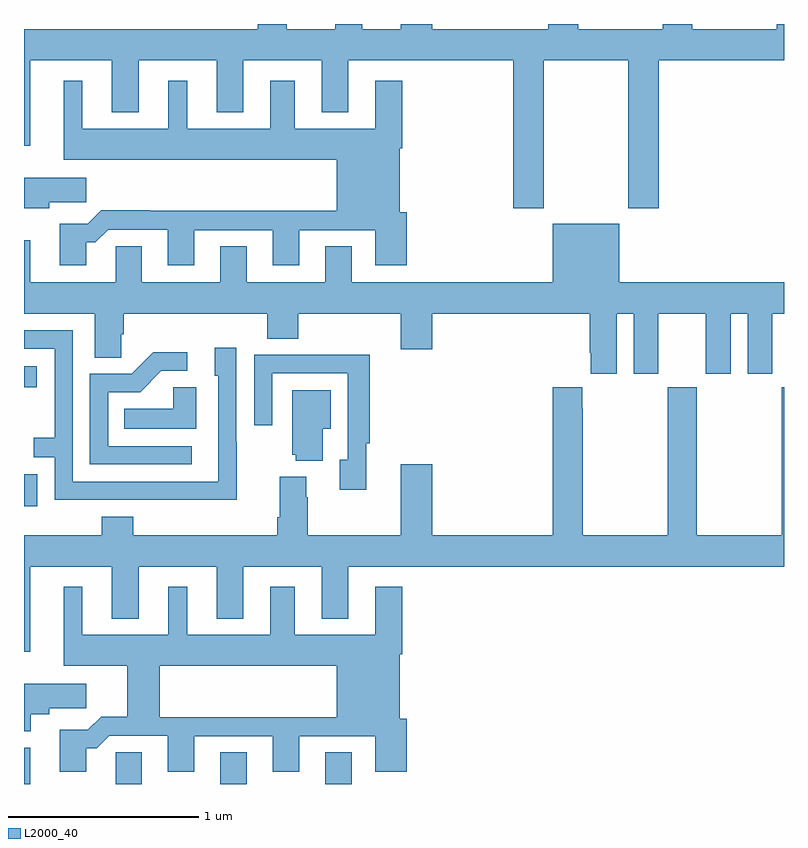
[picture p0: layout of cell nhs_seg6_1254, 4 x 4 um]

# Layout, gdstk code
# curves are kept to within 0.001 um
import gdstk
lib = gdstk.Library(unit=1e-6, precision=1e-09)
def R(c, l, rs):  # rectangles x0, y0, x1, y1
    for r in rs: c.add(gdstk.rectangle(r[:2], r[2:], *l))
def P(c, l, *ps):  # polygons
    for p in ps: c.add(gdstk.Polygon(p, *l))
L2000_40 = (2000, 40)

nhs_seg6_1254 = lib.new_cell('nhs_seg6_1254')
R(nhs_seg6_1254, L2000_40, [(187,971.5,187.033,971.692), (187.482,971.5,187.621,971.666), (188.033,971.5,188.173,971.666), (188.585,971.5,188.725,971.666), (187,972.963,187.071,973.131), (187,973.589,187.066,973.699)])
P(nhs_seg6_1254, L2000_40, [(189.735,975.308),(190.18,975.308),(190.18,974.529),(190.34,974.529),(190.34,975.308),(191,975.308),(191,975.5),(190.963,975.5),(190.963,975.472),(190.518,975.472),(190.518,975.5),(190.363,975.5),(190.363,975.472),(189.918,975.472),(189.918,975.5),(189.758,975.5),(189.758,975.472),(189.148,975.472),(189.148,975.5),(188.984,975.5),(188.984,975.472),(188.779,975.472),(188.779,975.5),(188.639,975.5),(188.639,975.472),(188.383,975.472),(188.383,975.5),(188.231,975.5),(188.231,975.472),(187,975.472),(187,974.859),(187.033,974.859),(187.033,975.308),(187.463,975.308),(187.463,975.035),(187.603,975.035),(187.603,975.308),(188.015,975.308),(188.015,975.035),(188.155,975.035),(188.155,975.308),(188.567,975.308),(188.567,975.035),(188.707,975.035),(188.707,975.308),(189.575,975.308),(189.575,974.529),(189.735,974.529)],
  [(187.327,974.351),(187.376,974.351),(187.443,974.418),(187.757,974.418),(187.757,974.229),(187.897,974.229),(187.897,974.415),(188.309,974.415),(188.309,974.229),(188.449,974.229),(188.449,974.415),(188.849,974.415),(188.849,974.229),(189.014,974.229),(189.014,974.508),(188.977,974.508),(188.977,974.846),(188.99,974.846),(188.99,975.202),(188.849,975.202),(188.849,974.95),(188.425,974.95),(188.425,975.202),(188.297,975.202),(188.297,974.95),(187.858,974.95),(187.858,975.202),(187.76,975.202),(187.76,974.95),(187.306,974.95),(187.306,975.202),(187.208,975.202),(187.208,974.786),(188.645,974.786),(188.645,974.516),(187.661,974.516),(187.661,974.519),(187.406,974.519),(187.336,974.449),(187.187,974.449),(187.187,974.229),(187.327,974.229)],
  [(187.132,974.563),(187.327,974.563),(187.327,974.692),(187,974.692),(187,974.531),(187.132,974.531)],
  [(187.482,974.33),(187.482,974.14),(187.033,974.14),(187.033,974.362),(187,974.362),(187,973.976),(187.373,973.976),(187.373,973.744),(187.512,973.744),(187.512,973.867),(187.526,973.867),(187.526,973.976),(188.279,973.976),(188.279,973.843),(188.444,973.843),(188.444,973.976),(188.984,973.976),(188.984,973.788),(189.148,973.788),(189.148,973.976),(189.977,973.976),(189.977,973.771),(189.983,973.771),(189.983,973.659),(190.12,973.659),(190.12,973.976),(190.208,973.976),(190.208,973.659),(190.339,973.659),(190.339,973.976),(190.589,973.976),(190.589,973.659),(190.72,973.659),(190.72,973.976),(190.808,973.976),(190.808,973.659),(190.939,973.659),(190.939,973.976),(191,973.976),(191,974.14),(190.132,974.14),(190.132,974.449),(189.782,974.449),(189.782,974.14),(188.725,974.14),(188.725,974.33),(188.585,974.33),(188.585,974.14),(188.173,974.14),(188.173,974.33),(188.033,974.33),(188.033,974.14),(187.621,974.14),(187.621,974.33)],
  [(188.121,973.301),(188.118,973.301),(188.118,973.795),(188.003,973.795),(188.003,973.65),(188.022,973.65),(188.022,973.092),(187.257,973.092),(187.257,973.887),(187,973.887),(187,973.791),(187.161,973.791),(187.161,973.322),(187.051,973.322),(187.051,973.221),(187.161,973.221),(187.161,972.996),(187.657,972.996),(187.657,972.995),(188.121,972.995)],
  [(187.882,973.278),(187.443,973.278),(187.443,973.563),(187.612,973.563),(187.723,973.674),(187.858,973.674),(187.858,973.772),(187.679,973.772),(187.566,973.659),(187.347,973.659),(187.347,973.182),(187.882,973.182)],
  [(188.801,973.294),(188.819,973.294),(188.819,973.76),(188.527,973.76),(188.527,973.758),(188.211,973.758),(188.211,973.389),(188.307,973.389),(188.307,973.662),(188.703,973.662),(188.703,973.206),(188.663,973.206),(188.663,973.05),(188.801,973.05)],
  [(187.906,973.589),(187.785,973.589),(187.785,973.474),(187.528,973.474),(187.528,973.37),(187.906,973.37)],
  [(187.033,972.644),(187.463,972.644),(187.463,972.371),(187.603,972.371),(187.603,972.644),(188.015,972.644),(188.015,972.371),(188.155,972.371),(188.155,972.644),(188.567,972.644),(188.567,972.371),(188.707,972.371),(188.707,972.644),(191,972.644),(191,973.588),(190.987,973.588),(190.987,972.808),(190.542,972.808),(190.542,973.588),(190.387,973.588),(190.387,972.808),(189.942,972.808),(189.942,973.475),(189.937,973.475),(189.937,973.588),(189.782,973.588),(189.782,972.808),(189.148,972.808),(189.148,973.183),(188.984,973.183),(188.984,972.808),(188.493,972.808),(188.493,973.01),(188.485,973.01),(188.485,973.117),(188.345,973.117),(188.345,972.904),(188.333,972.904),(188.333,972.808),(187.574,972.808),(187.574,972.907),(187.409,972.907),(187.409,972.808),(187,972.808),(187,972.195),(187.033,972.195)],
  [(188.572,973.37),(188.614,973.37),(188.614,973.573),(188.411,973.573),(188.411,973.233),(188.429,973.233),(188.429,973.202),(188.572,973.202)],
  [(187.187,971.785),(187.187,971.565),(187.327,971.565),(187.327,971.687),(187.382,971.687),(187.449,971.754),(187.757,971.754),(187.757,971.565),(187.897,971.565),(187.897,971.751),(188.309,971.751),(188.309,971.565),(188.449,971.565),(188.449,971.751),(188.849,971.751),(188.849,971.565),(189.014,971.565),(189.014,971.844),(188.977,971.844),(188.977,972.182),(188.99,972.182),(188.99,972.538),(188.849,972.538),(188.849,972.286),(188.425,972.286),(188.425,972.538),(188.297,972.538),(188.297,972.286),(187.858,972.286),(187.858,972.538),(187.76,972.538),(187.76,972.286),(187.306,972.286),(187.306,972.538),(187.208,972.538),(187.208,972.122),(187.544,972.122),(187.544,971.855),(187.406,971.855),(187.403,971.852),(187.715,971.852),(187.715,972.122),(188.645,972.122),(188.645,971.852),(187.403,971.852),(187.336,971.785)],
  [(187.036,971.867),(187.132,971.867),(187.132,971.899),(187.327,971.899),(187.327,972.028),(187,972.028),(187,971.777),(187.036,971.777)])

lib.write_gds('nhs_seg6_1254.gds')
